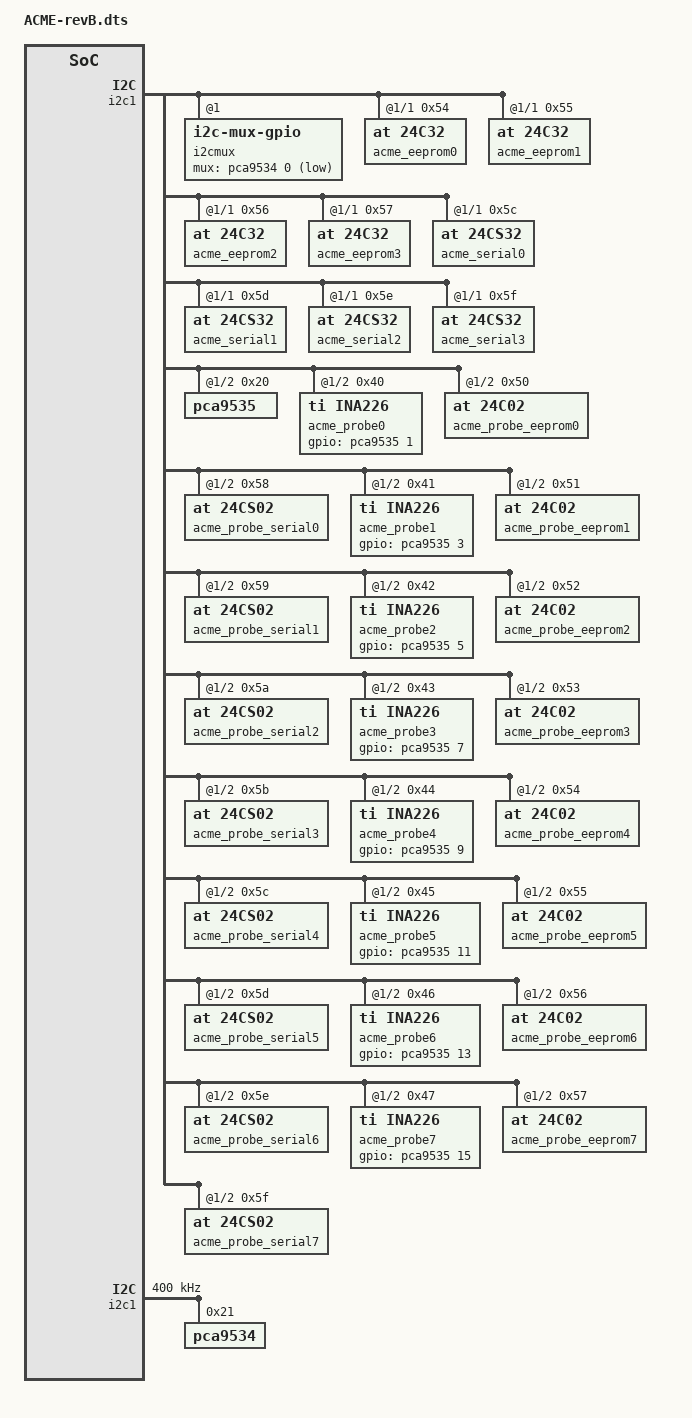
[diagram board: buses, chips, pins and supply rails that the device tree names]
/*
 * Copyright (C) 2017 BayLibre, SAS
 *
 * ACME cape
 *
 * This program is free software; you can redistribute it and/or modify
 * it under the terms of the GNU General Public License version 2 as
 * published by the Free Software Foundation.
 */
/dts-v1/;
/plugin/;

#include <dt-bindings/board/am335x-bbw-bbb-base.h>
#include <dt-bindings/gpio/gpio.h>
#include <dt-bindings/pinctrl/am33xx.h>

/ {
	compatible = "ti,beaglebone", "ti,beaglebone-black", "ti,beaglebone-green";

	// identification
	part-number = "ACME";
	version = "revB";

	// resources this cape uses
	exclusive-use =
		"P9.18",		// i2c1_sda
		"P9.17",		// i2c1_scl

		"i2c1";		// hardware ip used


	fragment@0 {
		target = <&am33xx_pinmux>;
		__overlay__ {
			bb_i2c1_pins: pinmux_bb_i2c1_pins {
				pinctrl-single,pins = <
					BONE_P9_18 0x72	// spi0_d1.i2c1_sda, SLEWCTRL_SLOW | INPUT_PULLUP | MODE2
					BONE_P9_17 0x72	// spi0_cs0.i2c1_scl, SLEWCTRL_SLOW | INPUT_PULLUP | MODE2
				>;
			};
		};
	};

	fragment@1 {
		target = <&i2c1>;	// i2c1 is numbered correctly
		__overlay__ {
			status = "okay";
			pinctrl-names = "default";
			pinctrl-0 = <&bb_i2c1_pins>;

			// configuration start
			clock-frequency = <400000>;

			#address-cells = <1>;
			#size-cells = <0>;

			pca9534: pca9534@21 {
				compatible = "pca9534";
				reg = <0x21>;
				#gpio-cells = <2>;
			};
		};
	};

	fragment@2 {
		target-path="/";
		__overlay__ {
			i2cmux@1 {
				compatible = "i2c-mux-gpio";
				#address-cells = <1>;
				#size-cells = <0>;
				mux-gpios = <&pca9534 0 GPIO_ACTIVE_LOW>;
				i2c-parent = <&i2c1>;
				idle-state = <1>;
		
				i2c@1 {
					reg = <1>;
					#address-cells = <1>;
					#size-cells = <0>;
		
					acme_eeprom0: acme_eeprom0@54 {
						compatible = "at,24c32";
						reg = <0x54>;
						#address-cells = <1>;
						#size-cells = <1>;
					};
		
					acme_eeprom1: acme_eeprom1@55 {
						compatible = "at,24c32";
						reg = <0x55>;
						#address-cells = <1>;
						#size-cells = <1>;
					};
		
					acme_eeprom2: acme_eeprom2@56 {
						compatible = "at,24c32";
						reg = <0x56>;
						#address-cells = <1>;
						#size-cells = <1>;
					};
		
					acme_eeprom3: acme_eeprom3@57 {
						compatible = "at,24c32";
						reg = <0x57>;
						#address-cells = <1>;
						#size-cells = <1>;
					};
		
					acme_serial0: acme_serial0@5c {
						compatible = "at,24cs32";
						reg = <0x5c>;
						#address-cells = <1>;
						#size-cells = <1>;
					};
		
					acme_serial1: acme_serial1@5d {
						compatible = "at,24cs32";
						reg = <0x5d>;
						#address-cells = <1>;
						#size-cells = <1>;
					};
		
					acme_serial2: acme_serial2@5e {
						compatible = "at,24cs32";
						reg = <0x5e>;
						#address-cells = <1>;
						#size-cells = <1>;
					};
		
					acme_serial3: acme_serial3@5f {
						compatible = "at,24cs32";
						reg = <0x5f>;
						#address-cells = <1>;
						#size-cells = <1>;
					};
				};
		
				i2c@2 {
					reg = <2>;
					#address-cells = <1>;
					#size-cells = <0>;
		
					pca9535: pca9535@20 {
						compatible = "pca9535";
						reg = <0x20>;
						#gpio-cells = <2>;
					};
		
					acme_probe0: acme_probe0@40 {
						compatible = "ti,ina226";
						reg = <0x40>;
						gpio = <&pca9535 1 0>;
					};
		
					acme_probe_eeprom0: acme_probe_eeprom0@50 {
						compatible = "at,24c02";
						reg = <0x50>;
					};
		
					acme_probe_serial0: acme_probe_serial0@58 {
						compatible = "at,24cs02";
						reg = <0x58>;
					};
		
					acme_probe1: acme_probe1@41 {
						compatible = "ti,ina226";
						reg = <0x41>;
						gpio = <&pca9535 3 0>;
					};
		
					acme_probe_eeprom1: acme_probe_eeprom1@51 {
						compatible = "at,24c02";
						reg = <0x51>;
					};
		
					acme_probe_serial1: acme_probe_serial1@59 {
						compatible = "at,24cs02";
						reg = <0x59>;
					};
		
					acme_probe2: acme_probe2@42 {
						compatible = "ti,ina226";
						reg = <0x42>;
						gpio = <&pca9535 5 0>;
					};
		
					acme_probe_eeprom2: acme_probe_eeprom2@52 {
						compatible = "at,24c02";
						reg = <0x52>;
					};
		
					acme_probe_serial2: acme_probe_serial2@5a {
						compatible = "at,24cs02";
						reg = <0x5a>;
					};
		
					acme_probe3: acme_probe3@43 {
						compatible = "ti,ina226";
						reg = <0x43>;
						gpio = <&pca9535 7 0>;
					};
		
					acme_probe_eeprom3: acme_probe_eeprom3@53 {
						compatible = "at,24c02";
						reg = <0x53>;
					};
		
					acme_probe_serial3: acme_probe_serial3@5b {
						compatible = "at,24cs02";
						reg = <0x5b>;
					};
		
					acme_probe4: acme_probe4@44 {
						compatible = "ti,ina226";
						reg = <0x44>;
						gpio = <&pca9535 9 0>;
					};
		
					acme_probe_eeprom4: acme_probe_eeprom4@54 {
						compatible = "at,24c02";
						reg = <0x54>;
					};
		
					acme_probe_serial4: acme_probe_serial4@5c {
						compatible = "at,24cs02";
						reg = <0x5c>;
					};
		
					acme_probe5: acme_probe5@45 {
						compatible = "ti,ina226";
						reg = <0x45>;
						gpio = <&pca9535 11 0>;
					};
		
					acme_probe_eeprom5: acme_probe_eeprom5@55 {
						compatible = "at,24c02";
						reg = <0x55>;
					};
		
					acme_probe_serial5: acme_probe_serial5@5d {
						compatible = "at,24cs02";
						reg = <0x5d>;
					};
		
					acme_probe6: acme_probe6@46 {
						compatible = "ti,ina226";
						reg = <0x46>;
						gpio = <&pca9535 13 0>;
					};
		
					acme_probe_eeprom6: acme_probe_eeprom6@56 {
						compatible = "at,24c02";
						reg = <0x56>;
					};
		
					acme_probe_serial6: acme_probe_serial6@5e {
						compatible = "at,24cs02";
						reg = <0x5e>;
					};
		
					acme_probe7: acme_probe7@47 {
						compatible = "ti,ina226";
						reg = <0x47>;
						gpio = <&pca9535 15 0>;
					};
		
					acme_probe_eeprom7: acme_probe_eeprom7@57 {
						compatible = "at,24c02";
						reg = <0x57>;
					};
		
					acme_probe_serial7: acme_probe_serial7@5f {
						compatible = "at,24cs02";
						reg = <0x5f>;
					};
				};
			};
		};
	};
};
